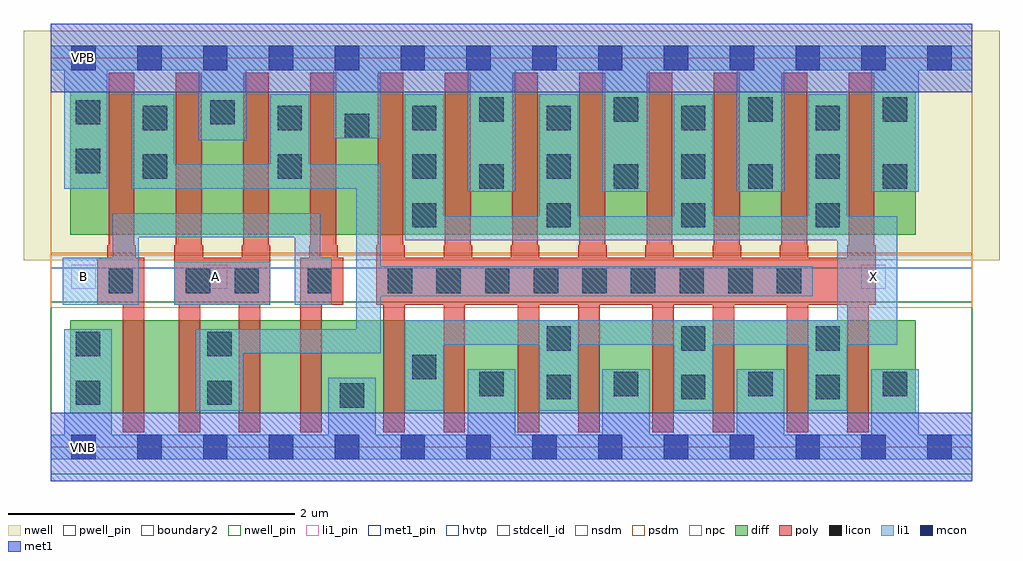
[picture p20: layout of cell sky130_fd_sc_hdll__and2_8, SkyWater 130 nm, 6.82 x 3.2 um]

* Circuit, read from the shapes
.subckt sky130_fd_sc_hdll__and2_8 A B VGND VNB VPB VPWR X
XM1 n1 B VGND VNB sky130_fd_pr__nfet_01v8 w=0.65 l=0.15
XM2 n2 A n1 VNB sky130_fd_pr__nfet_01v8 w=0.65 l=0.15
XM3 n3 A n2 VNB sky130_fd_pr__nfet_01v8 w=0.65 l=0.15
XM4 VGND B n3 VNB sky130_fd_pr__nfet_01v8 w=0.65 l=0.15
XM5 X n2 VGND VNB sky130_fd_pr__nfet_01v8 w=0.65 l=0.15 m=8
XM6 n2 B VPWR VPB sky130_fd_pr__pfet_01v8_hvt w=1 l=0.18 m=2
XM7 VPWR A n2 VPB sky130_fd_pr__pfet_01v8_hvt w=1 l=0.18 m=2
XM8 X n2 VPWR VPB sky130_fd_pr__pfet_01v8_hvt w=1 l=0.18 m=8
.ends

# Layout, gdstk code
import gdstk
lib = gdstk.Library(unit=1e-6, precision=1e-09)
def R(c, l, rs):  # rectangles x0, y0, x1, y1
    for r in rs: c.add(gdstk.rectangle(r[:2], r[2:], *l))
def A(c, l, x, y, w, h, nx, ny, dx, dy):  # array of equal rectangles
    R(c, l, [(x+i*dx, y+j*dy, x+i*dx+w, y+j*dy+h) for i in range(nx) for j in range(ny)])
def P(c, l, *ps):  # polygons
    for p in ps: c.add(gdstk.Polygon(p, *l))
nwell_pin = (64, 16)
nwell = (64, 20)
diff = (65, 20)
poly = (66, 20)
licon = (66, 44)
li1_pin = (67, 16)
li1 = (67, 20)
mcon = (67, 44)
met1_pin = (68, 16)
met1 = (68, 20)
hvtp = (78, 44)
stdcell_id = (81, 4)
nsdm = (93, 44)
psdm = (94, 20)
npc = (95, 20)
pwell_pin = (122, 16)
boundary2 = (236, 0)

sky130_fd_sc_hdll__and2_ = lib.new_cell('sky130_fd_sc_hdll__and2_8')
R(sky130_fd_sc_hdll__and2_, nwell_pin, [(0.145,2.635,0.315,2.805)])
R(sky130_fd_sc_hdll__and2_, nwell, [(-0.19,1.305,6.63,2.91)])
R(sky130_fd_sc_hdll__and2_, diff, [(0.135,0.235,6.045,0.885), (0.135,1.485,6.045,2.485)])
P(sky130_fd_sc_hdll__and2_, poly, [(0.655,1.325),(0.595,1.325),(0.595,1.41),(0.585,1.41),(0.585,2.615),(0.405,2.615),(0.405,1.41),(0.395,1.41),(0.395,1.325),(0.325,1.325),(0.325,0.995),(0.505,0.995),(0.505,0.105),(0.655,0.105)],
  [(5.765,1.41),(5.755,1.41),(5.755,2.615),(5.575,2.615),(5.575,1.41),(5.565,1.41),(5.565,1.325),(5.295,1.325),(5.295,1.41),(5.285,1.41),(5.285,2.615),(5.105,2.615),(5.105,1.41),(5.095,1.41),(5.095,1.325),(4.825,1.325),(4.825,1.41),(4.815,1.41),(4.815,2.615),(4.635,2.615),(4.635,1.41),(4.625,1.41),(4.625,1.325),(4.355,1.325),(4.355,1.41),(4.345,1.41),(4.345,2.615),(4.165,2.615),(4.165,1.41),(4.155,1.41),(4.155,1.325),(3.885,1.325),(3.885,1.41),(3.875,1.41),(3.875,2.615),(3.695,2.615),(3.695,1.41),(3.685,1.41),(3.685,1.325),(3.415,1.325),(3.415,1.41),(3.405,1.41),(3.405,2.615),(3.225,2.615),(3.225,1.41),(3.215,1.41),(3.215,1.325),(2.945,1.325),(2.945,1.41),(2.935,1.41),(2.935,2.615),(2.755,2.615),(2.755,1.41),(2.745,1.41),(2.745,1.325),(2.475,1.325),(2.475,1.41),(2.465,1.41),(2.465,2.615),(2.285,2.615),(2.285,1.41),(2.275,1.41),(2.275,0.995),(2.325,0.995),(2.325,0.105),(2.475,0.105),(2.475,0.995),(2.745,0.995),(2.745,0.105),(2.895,0.105),(2.895,0.995),(3.265,0.995),(3.265,0.105),(3.415,0.105),(3.415,0.995),(3.685,0.995),(3.685,0.105),(3.835,0.105),(3.835,0.995),(4.205,0.995),(4.205,0.105),(4.355,0.105),(4.355,0.995),(4.625,0.995),(4.625,0.105),(4.775,0.105),(4.775,0.995),(5.145,0.995),(5.145,0.105),(5.295,0.105),(5.295,0.995),(5.565,0.995),(5.565,0.105),(5.715,0.105),(5.715,0.995),(5.765,0.995)],
  [(1.535,1.41),(1.525,1.41),(1.525,2.615),(1.345,2.615),(1.345,1.41),(1.335,1.41),(1.335,1.325),(1.065,1.325),(1.065,1.41),(1.055,1.41),(1.055,2.615),(0.875,2.615),(0.875,1.41),(0.865,1.41),(0.865,0.995),(0.895,0.995),(0.895,0.105),(1.045,0.105),(1.045,0.995),(1.315,0.995),(1.315,0.105),(1.465,0.105),(1.465,0.995),(1.535,0.995)],
  [(2.045,1.325),(2.005,1.325),(2.005,1.41),(1.995,1.41),(1.995,2.615),(1.815,2.615),(1.815,1.41),(1.805,1.41),(1.805,1.325),(1.745,1.325),(1.745,0.105),(1.895,0.105),(1.895,0.995),(2.045,0.995)])
A(sky130_fd_sc_hdll__and2_, licon, 3.465, 0.335, 0.17, 0.17, 3, 2, 0.94, 0.34)
A(sky130_fd_sc_hdll__and2_, licon, 2.995, 0.355, 0.17, 0.17, 4, 2, 0.94, 1.45)
A(sky130_fd_sc_hdll__and2_, licon, 2.355, 1.075, 0.17, 0.17, 9, 1, 0.34, 0)
A(sky130_fd_sc_hdll__and2_, licon, 2.525, 1.535, 0.17, 0.17, 4, 1, 0.94, 0)
A(sky130_fd_sc_hdll__and2_, licon, 0.645, 1.875, 0.17, 0.17, 6, 2, 0.94, 0.34)
A(sky130_fd_sc_hdll__and2_, licon, 2.995, 2.275, 0.17, 0.17, 4, 1, 0.94, 0)
R(sky130_fd_sc_hdll__and2_, licon, [(2.02,0.275,2.19,0.445), (0.175,0.295,0.345,0.465), (1.095,0.295,1.265,0.465), (2.525,0.475,2.695,0.645), (0.175,0.635,0.345,0.805), (1.095,0.635,1.265,0.805), (0.405,1.075,0.575,1.245), (0.945,1.075,1.115,1.245), (1.285,1.075,1.455,1.245), (1.795,1.075,1.965,1.245), (0.175,1.915,0.345,2.085), (2.055,2.16,2.225,2.33), (0.175,2.255,0.345,2.425), (1.115,2.255,1.285,2.425)])
R(sky130_fd_sc_hdll__and2_, li1_pin, [(0.145,1.105,0.315,1.275), (1.065,1.105,1.235,1.275), (5.665,1.105,5.835,1.275)])
R(sky130_fd_sc_hdll__and2_, li1, [(0.865,0.995,1.535,1.295)])
P(sky130_fd_sc_hdll__and2_, li1, [(6.44,0.085),(6.065,0.085),(6.065,0.545),(5.735,0.545),(5.735,0.085),(5.125,0.085),(5.125,0.545),(4.795,0.545),(4.795,0.085),(4.185,0.085),(4.185,0.545),(3.855,0.545),(3.855,0.085),(3.245,0.085),(3.245,0.545),(2.915,0.545),(2.915,0.085),(2.27,0.085),(2.27,0.485),(1.94,0.485),(1.94,0.085),(0.425,0.085),(0.425,0.825),(0.095,0.825),(0.095,0.085),(0,0.085),(0,-0.085),(6.44,-0.085)],
  [(5.325,1.265),(2.305,1.265),(2.305,1.975),(1.805,1.975),(1.805,2.465),(1.535,2.465),(1.535,1.975),(0.865,1.975),(0.865,2.465),(0.565,2.465),(0.565,1.805),(2.135,1.805),(2.135,0.825),(1.015,0.825),(1.015,0.255),(1.345,0.255),(1.345,0.655),(2.305,0.655),(2.305,1.055),(5.325,1.055)],
  [(1.965,1.325),(1.885,1.325),(1.885,1.635),(0.435,1.635),(0.435,1.325),(0.085,1.325),(0.085,0.995),(0.615,0.995),(0.615,1.465),(1.705,1.465),(1.705,0.995),(1.965,0.995)],
  [(6.44,2.805),(0,2.805),(0,2.635),(0.095,2.635),(0.095,1.805),(0.395,1.805),(0.395,2.635),(1.035,2.635),(1.035,2.145),(1.365,2.145),(1.365,2.635),(1.975,2.635),(1.975,2.16),(2.305,2.16),(2.305,2.635),(2.915,2.635),(2.915,1.785),(3.245,1.785),(3.245,2.635),(3.855,2.635),(3.855,1.785),(4.185,1.785),(4.185,2.635),(4.795,2.635),(4.795,1.785),(5.125,1.785),(5.125,2.635),(5.735,2.635),(5.735,1.785),(6.065,1.785),(6.065,2.635),(6.44,2.635)],
  [(5.915,1.615),(5.565,1.615),(5.565,2.465),(5.295,2.465),(5.295,1.615),(4.625,1.615),(4.625,2.465),(4.355,2.465),(4.355,1.615),(3.685,1.615),(3.685,2.465),(3.415,2.465),(3.415,1.615),(2.745,1.615),(2.745,2.465),(2.475,2.465),(2.475,1.445),(5.495,1.445),(5.495,0.885),(2.475,0.885),(2.475,0.255),(2.745,0.255),(2.745,0.715),(3.415,0.715),(3.415,0.255),(3.685,0.255),(3.685,0.715),(4.355,0.715),(4.355,0.255),(4.625,0.255),(4.625,0.715),(5.295,0.715),(5.295,0.255),(5.565,0.255),(5.565,0.715),(5.915,0.715)])
A(sky130_fd_sc_hdll__and2_, mcon, 0.145, -0.085, 0.17, 0.17, 14, 2, 0.46, 2.72)
R(sky130_fd_sc_hdll__and2_, met1_pin, [(0.145,-0.085,0.315,0.085), (0.145,2.635,0.315,2.805)])
R(sky130_fd_sc_hdll__and2_, met1, [(0,-0.24,6.44,0.24), (0,2.48,6.44,2.96)])
R(sky130_fd_sc_hdll__and2_, hvtp, [(0,1.25,6.44,2.72)])
R(sky130_fd_sc_hdll__and2_, stdcell_id, [(0,0,6.44,2.72)])
R(sky130_fd_sc_hdll__and2_, nsdm, [(0,-0.19,6.44,1.015)])
R(sky130_fd_sc_hdll__and2_, psdm, [(0,1.355,6.44,2.91)])
R(sky130_fd_sc_hdll__and2_, npc, [(0,0.975,6.44,1.345)])
R(sky130_fd_sc_hdll__and2_, pwell_pin, [(0.145,-0.085,0.315,0.085)])
R(sky130_fd_sc_hdll__and2_, boundary2, [(0,0,6.44,2.72)])
sky130_fd_sc_hdll__and2_.add(gdstk.Label('X', (5.75,1.19), layer=67, texttype=5))
sky130_fd_sc_hdll__and2_.add(gdstk.Label('B', (0.23,1.19), layer=67, texttype=5))
sky130_fd_sc_hdll__and2_.add(gdstk.Label('A', (1.15,1.19), layer=67, texttype=5))
sky130_fd_sc_hdll__and2_.add(gdstk.Label('VNB', (0.23,0), layer=64, texttype=59))
sky130_fd_sc_hdll__and2_.add(gdstk.Label('VPB', (0.23,2.72), layer=64, texttype=5))
sky130_fd_sc_hdll__and2_.add(gdstk.Label('VGND', (0.23,0), layer=68, texttype=5))
sky130_fd_sc_hdll__and2_.add(gdstk.Label('VPWR', (0.23,2.72), layer=68, texttype=5))
sky130_fd_sc_hdll__and2_.add(gdstk.Label('and2_8', (0,0), layer=83, texttype=44))

lib.write_gds('sky130_fd_sc_hdll__and2_8.gds')
